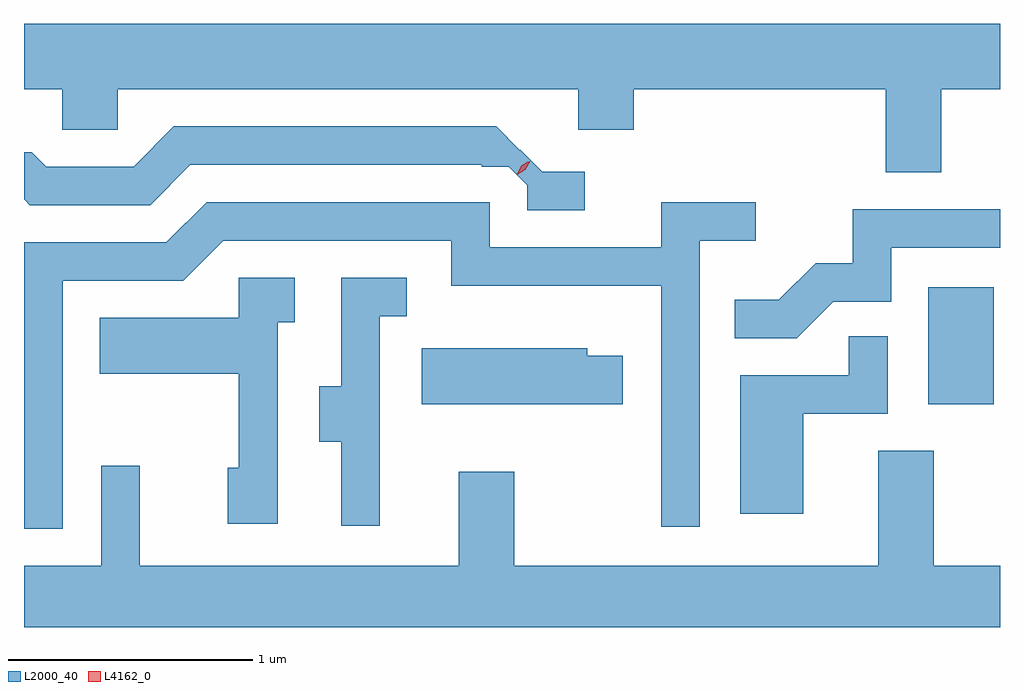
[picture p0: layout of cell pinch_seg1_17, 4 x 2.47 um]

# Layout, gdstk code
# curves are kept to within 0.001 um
import gdstk
lib = gdstk.Library(unit=1e-6, precision=1e-09)
def R(c, l, rs):  # rectangles x0, y0, x1, y1
    for r in rs: c.add(gdstk.rectangle(r[:2], r[2:], *l))
def P(c, l, *ps):  # polygons
    for p in ps: c.add(gdstk.Polygon(p, *l))
L2000_40 = (2000, 40)
L4162_0 = (4162, 0)

pinch_seg1_17 = lib.new_cell('pinch_seg1_17')
R(pinch_seg1_17, L2000_40, [(1764.116,949.346,1764.384,949.824)])
P(pinch_seg1_17, L2000_40, [(1764.169,950.636),(1764.41,950.636),(1764.41,950.904),(1760.41,950.904),(1760.41,950.636),(1760.566,950.636),(1760.566,950.471),(1760.794,950.471),(1760.794,950.636),(1762.681,950.636),(1762.681,950.471),(1762.909,950.471),(1762.909,950.636),(1763.941,950.636),(1763.941,950.296),(1764.169,950.296)],
  [(1762.708,950.298),(1762.533,950.298),(1762.345,950.484),(1761.024,950.484),(1760.859,950.319),(1760.502,950.319),(1760.442,950.379),(1760.41,950.379),(1760.41,950.185),(1760.434,950.161),(1760.927,950.161),(1761.092,950.326),(1762.285,950.326),(1762.285,950.319),(1762.396,950.319),(1762.472,950.243),(1762.472,950.141),(1762.708,950.141)],
  [(1760.569,949.851),(1761.062,949.851),(1761.227,950.016),(1762.161,950.016),(1762.161,949.831),(1763.021,949.831),(1763.021,948.843),(1763.179,948.843),(1763.179,950.016),(1763.408,950.016),(1763.408,950.174),(1763.021,950.174),(1763.021,949.989),(1762.319,949.989),(1762.319,950.174),(1761.159,950.174),(1760.994,950.009),(1760.411,950.009),(1760.41,948.836),(1760.569,948.836)],
  [(1763.727,949.766),(1763.964,949.766),(1763.964,949.986),(1764.41,949.986),(1764.41,950.144),(1763.806,950.144),(1763.806,949.924),(1763.654,949.924),(1763.504,949.774),(1763.323,949.774),(1763.323,949.616),(1763.577,949.616)],
  [(1761.449,949.681),(1761.519,949.681),(1761.519,949.864),(1761.291,949.864),(1761.291,949.699),(1760.721,949.699),(1760.721,949.471),(1761.291,949.471),(1761.291,949.084),(1761.246,949.084),(1761.246,948.856),(1761.449,948.856)],
  [(1761.869,949.706),(1761.978,949.706),(1761.978,949.864),(1761.711,949.864),(1761.711,949.419),(1761.621,949.419),(1761.621,949.191),(1761.711,949.191),(1761.711,948.848),(1761.869,948.848)],
  [(1763.604,949.306),(1763.949,949.306),(1763.949,949.623),(1763.791,949.623),(1763.791,949.464),(1763.346,949.464),(1763.346,948.896),(1763.604,948.896)],
  [(1762.864,949.544),(1762.719,949.544),(1762.719,949.574),(1762.041,949.574),(1762.041,949.346),(1762.864,949.346)],
  [(1764.41,948.684),(1764.139,948.684),(1764.139,949.154),(1763.911,949.154),(1763.911,948.684),(1762.419,948.684),(1762.419,949.069),(1762.191,949.069),(1762.191,948.684),(1760.884,948.684),(1760.884,949.093),(1760.726,949.093),(1760.726,948.684),(1760.41,948.684),(1760.41,948.432),(1764.41,948.432)])
P(pinch_seg1_17, L4162_0, [(1762.43,950.286),(1762.43,950.287),(1762.45,950.321),(1762.483,950.342),(1762.484,950.342),(1762.484,950.341),(1762.464,950.307),(1762.431,950.286)],
  [(1762.434,950.293),(1762.434,950.294),(1762.447,950.323),(1762.474,950.34),(1762.475,950.34),(1762.475,950.339),(1762.462,950.31),(1762.434,950.293)])

lib.write_gds('pinch_seg1_17.gds')
